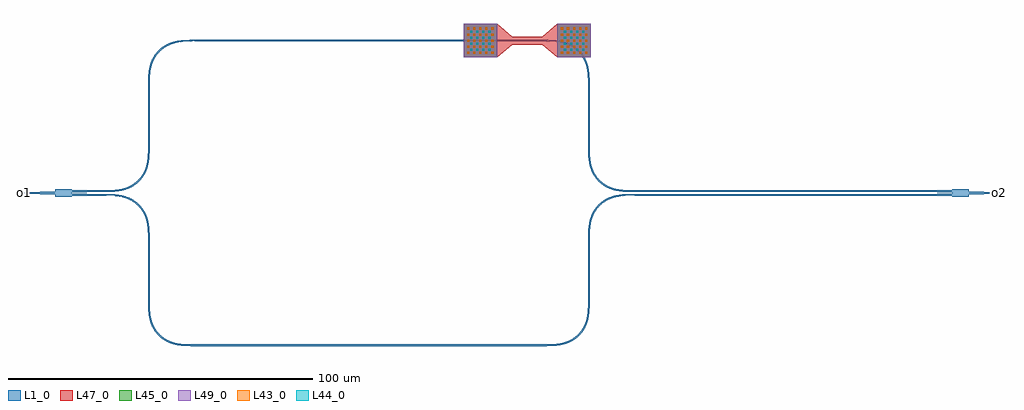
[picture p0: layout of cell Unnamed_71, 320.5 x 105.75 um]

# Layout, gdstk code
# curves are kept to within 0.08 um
from math import pi, radians
import gdstk
lib = gdstk.Library(unit=1e-6, precision=1e-09)
def R(c, l, rs):  # rectangles x0, y0, x1, y1
    for r in rs: c.add(gdstk.rectangle(r[:2], r[2:], *l))
def A(c, l, x, y, w, h, nx, ny, dx, dy):  # array of equal rectangles
    R(c, l, [(x+i*dx, y+j*dy, x+i*dx+w, y+j*dy+h) for i in range(nx) for j in range(ny)])
def P(c, l, *ps):  # polygons
    for p in ps: c.add(gdstk.Polygon(p, *l))
L1_0 = (1, 0)
L43_0 = (43, 0)
L44_0 = (44, 0)
L45_0 = (45, 0)
L47_0 = (47, 0)
L49_0 = (49, 0)

mmi1x2_wnone_wt1_lt10_l_ = lib.new_cell('mmi1x2_WNone_WT1_LT10_L_4e0f7121')
P(mmi1x2_wnone_wt1_lt10_l_, L1_0, [(0,-1.25),(0,-0.5),(-10,-0.25),(-10,0.25),(0,0.5),(0,1.25),(5.5,1.25),(5.5,1.125),(15.5,0.875),(15.5,0.375),(5.5,0.125),(5.5,-0.125),(15.5,-0.375),(15.5,-0.875),(5.5,-1.125),(5.5,-1.25)])

straight_heater_metal_u_ = lib.new_cell('straight_heater_metal_u_385113d0')
R(straight_heater_metal_u_, L1_0, [(0,-0.25,10,0.25)])
A(straight_heater_metal_u_, L43_0, -14.75, -4.35, 0.7, 0.7, 5, 5, 2, 2)
A(straight_heater_metal_u_, L43_0, 16.05, -4.35, 0.7, 0.7, 5, 5, 2, 2)
A(straight_heater_metal_u_, L44_0, -13.75, -3.35, 0.7, 0.7, 4, 4, 2, 2)
A(straight_heater_metal_u_, L44_0, 17.05, -3.35, 0.7, 0.7, 4, 4, 2, 2)
R(straight_heater_metal_u_, L45_0, [(-15.9,-5.5,-4.9,5.5), (14.9,-5.5,25.9,5.5)])
P(straight_heater_metal_u_, L47_0, [(-15.9,-5.5),(-15.9,5.5),(-4.9,5.5),(0.1,1.25),(9.9,1.25),(14.9,5.5),(25.9,5.5),(25.9,-5.5),(14.9,-5.5),(9.9,-1.25),(0.1,-1.25),(-4.9,-5.5)])
R(straight_heater_metal_u_, L49_0, [(-15.9,-5.5,-4.9,5.5), (14.9,-5.5,25.9,5.5)])

straight_l10_n2_csstrip_ = lib.new_cell('straight_L10_N2_CSstrip_WNone')
R(straight_l10_n2_csstrip_, L1_0, [(0,-0.25,10,0.25)])

bend_euler_r15_a90_p0p5_ = lib.new_cell('bend_euler_R15_A90_P0p5_3fb75c97')
P(bend_euler_r15_a90_p0p5_, L1_0, [(0,-0.25),(0,0.25),(2.31,0.273),(4.332,0.406),(5.924,0.652),(7.346,1.03),(8.467,1.471),(9.541,2.045),(10.54,2.741),(11.45,3.55),(12.259,4.46),(12.955,5.459),(13.529,6.533),(13.97,7.654),(14.348,9.076),(14.594,10.668),(14.727,12.69),(14.75,15),(15.25,15),(15.222,12.537),(15.106,10.752),(14.891,9.246),(14.569,7.896),(14.099,6.583),(13.527,5.441),(12.739,4.262),(11.804,3.196),(10.738,2.261),(9.559,1.473),(8.417,0.901),(7.104,0.431),(5.754,0.109),(4.248,-0.106),(2.463,-0.222)])

straight_l0p25_n2_csstri = lib.new_cell('straight_L0p25_N2_CSstrip_WNone')
R(straight_l0p25_n2_csstri, L1_0, [(0,-0.25,0.25,0.25)])

straight_l19p375_n2_css_ = lib.new_cell('straight_L19p375_N2_CSs_3cf19edc')
R(straight_l19p375_n2_css_, L1_0, [(0,-0.25,19.375,0.25)])

straight_l104p25_n2_css_ = lib.new_cell('straight_L104p25_N2_CSs_0cd8c4ff')
R(straight_l104p25_n2_css_, L1_0, [(0,-0.25,104.25,0.25)])

straight_l94p25_n2_csstr = lib.new_cell('straight_L94p25_N2_CSstrip_WNone')
R(straight_l94p25_n2_csstr, L1_0, [(0,-0.25,94.25,0.25)])

unnamed_71 = lib.new_cell('Unnamed_71')
P(unnamed_71, L1_0, [(-10,-0.25),(-10.25,0),(-10.062,0.188),(-10.025,0.188),(-10.215,0),(-10.025,0),(-10.025,0.188),(-10.062,0.188),(-10,0.25)],
  [(310,-0.25),(310,0),(310.025,0),(310.025,-0.188),(310.215,0),(310,0),(310,0.25),(310.25,0)])
unnamed_71.add(gdstk.Reference(mmi1x2_wnone_wt1_lt10_l_, (0,0)))
unnamed_71.add(gdstk.Reference(straight_heater_metal_u_, (150,50)))
unnamed_71.add(gdstk.Reference(straight_l10_n2_csstrip_, (150,-50)))
unnamed_71.add(gdstk.Reference(mmi1x2_wnone_wt1_lt10_l_, (300,0), rotation=pi, x_reflection=True))
unnamed_71.add(gdstk.Reference(bend_euler_r15_a90_p0p5_, (30.75,15.625), rotation=3*pi/2, x_reflection=True))
unnamed_71.add(gdstk.Reference(straight_l0p25_n2_csstri, (15.75,0.625), rotation=pi))
unnamed_71.add(gdstk.Reference(bend_euler_r15_a90_p0p5_, (45.75,50), rotation=pi))
unnamed_71.add(gdstk.Reference(straight_l19p375_n2_css_, (30.75,35), rotation=3*pi/2))
unnamed_71.add(gdstk.Reference(straight_l104p25_n2_css_, (45.75,50)))
unnamed_71.add(gdstk.Reference(bend_euler_r15_a90_p0p5_, (30.75,-15.625), rotation=pi/2))
unnamed_71.add(gdstk.Reference(straight_l0p25_n2_csstri, (15.75,-0.625), rotation=pi))
unnamed_71.add(gdstk.Reference(bend_euler_r15_a90_p0p5_, (45.75,-50), rotation=pi, x_reflection=True))
unnamed_71.add(gdstk.Reference(straight_l19p375_n2_css_, (30.75,-35), rotation=pi/2))
unnamed_71.add(gdstk.Reference(straight_l104p25_n2_css_, (45.75,-50)))
unnamed_71.add(gdstk.Reference(bend_euler_r15_a90_p0p5_, (175.25,35), rotation=pi/2))
unnamed_71.add(gdstk.Reference(straight_l0p25_n2_csstri, (160.25,50), rotation=pi))
unnamed_71.add(gdstk.Reference(bend_euler_r15_a90_p0p5_, (190.25,0.625), rotation=pi, x_reflection=True))
unnamed_71.add(gdstk.Reference(straight_l19p375_n2_css_, (175.25,15.625), rotation=pi/2))
unnamed_71.add(gdstk.Reference(straight_l94p25_n2_csstr, (190.25,0.625)))
unnamed_71.add(gdstk.Reference(bend_euler_r15_a90_p0p5_, (175.25,-35), rotation=3*pi/2, x_reflection=True))
unnamed_71.add(gdstk.Reference(straight_l0p25_n2_csstri, (160.25,-50), rotation=pi))
unnamed_71.add(gdstk.Reference(bend_euler_r15_a90_p0p5_, (190.25,-0.625), rotation=pi))
unnamed_71.add(gdstk.Reference(straight_l19p375_n2_css_, (175.25,-15.625), rotation=3*pi/2))
unnamed_71.add(gdstk.Reference(straight_l94p25_n2_csstr, (190.25,-0.625)))
unnamed_71.add(gdstk.Label('o1', (-10,0), layer=1, texttype=0))
unnamed_71.add(gdstk.Label('o2', (310,0), layer=1, texttype=0))

lib.write_gds('Unnamed_71.gds')
